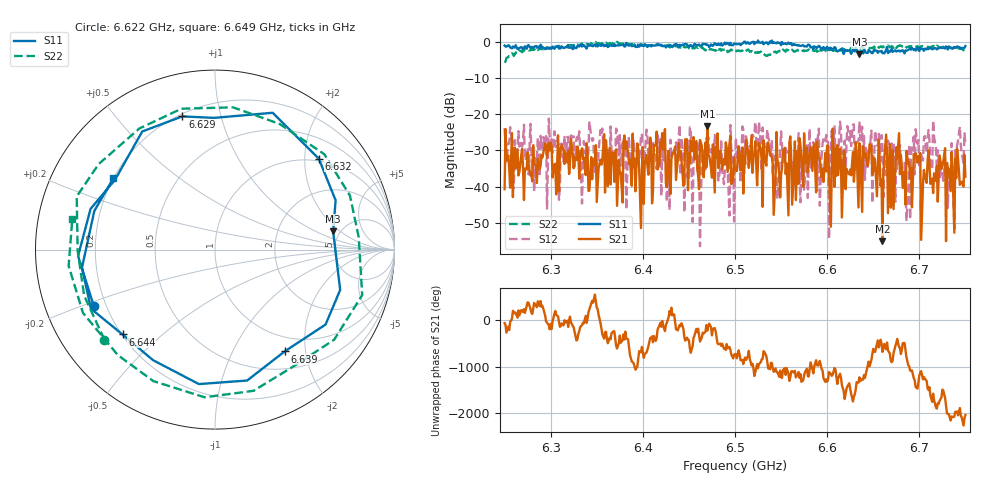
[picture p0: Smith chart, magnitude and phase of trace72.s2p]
# Hz S RI R 50
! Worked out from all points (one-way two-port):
!   401 points, 6.25 GHz to 6.75 GHz, reference 50 ohm
!   highest |S21| = -23.38 dB at 6.47 GHz (marker M1); lowest = -55.0 dB at 6.66 GHz (marker M2)
!   lowest |S11| = -3.5 dB at 6.635 GHz (marker M3), VSWR 4.99, Z = 218 + j80.3 ohm
!   |S11| at or under -10 dB: nowhere
!   |S22| runs from -5.8 to 0.0 dB; largest |S21 - S12| = 0.12
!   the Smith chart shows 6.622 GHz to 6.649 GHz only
!   S11 on the Smith chart (normalised r, x): 6.622 GHz: 0.15, -0.22; 6.629 GHz: 0.21, +0.76; 6.632 GHz: 0.94, +2.33; 6.639 GHz: 0.76, -1.63; 6.644 GHz: 0.20, -0.38; 6.649 GHz: 0.20, +0.30
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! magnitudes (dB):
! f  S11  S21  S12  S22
! 6.25 GHz  -1.1  -40.7  -23.8  -5.8
! 6.334 GHz  -1.3  -29.4  -44.6  -0.5
! 6.375 GHz  -1.0  -36.4  -25.8  -0.5
! 6.381 GHz  -1.3  -29.6  -27.5  -0.5
! 6.399 GHz  -0.8  -35.5  -25.4  -1.2
! 6.418 GHz  -0.9  -33.6  -30.4  -1.0
! 6.47 GHz  -0.8  -23.4  -28.9  -2.0
! 6.5 GHz  -0.6  -35.5  -33.5  -2.2
! 6.584 GHz  -1.4  -35.6  -28.7  -2.2
! 6.622 GHz  -2.6  -36.0  -23.3  -2.0
! 6.629 GHz  -2.3  -38.6  -22.8  -2.0
! 6.632 GHz  -2.3  -30.2  -27.8  -2.1
! 6.635 GHz  -3.5  -28.0  -22.0  -1.8
! 6.639 GHz  -3.3  -28.9  -36.0  -1.6
! 6.644 GHz  -3.1  -34.2  -35.2  -1.8
! 6.649 GHz  -3.2  -36.7  -44.6  -1.8
! 6.66 GHz  -3.2  -55.0  -28.3  -1.6
! 6.668 GHz  -2.6  -28.3  -28.7  -1.5
! 6.688 GHz  -2.2  -33.7  -41.2  -1.4
! 6.696 GHz  -2.4  -30.8  -24.1  -1.5
! 6.731 GHz  -2.2  -35.5  -45.9  -1.8
! 6.75 GHz  -1.2  -37.3  -28.0  -2.6
